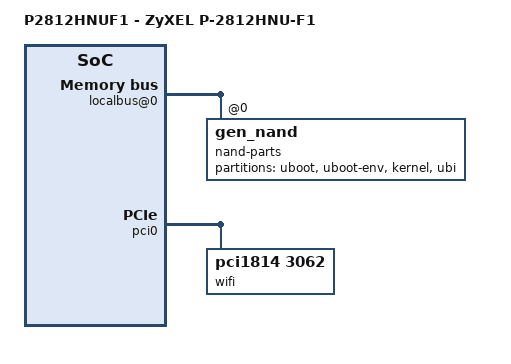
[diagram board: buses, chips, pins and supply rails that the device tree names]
/dts-v1/;

#include "P2812HNUFX.dtsi"

/ {
	model = "P2812HNUF1 - ZyXEL P-2812HNU-F1";

	aliases {
		led-usb = &usb1;
		led-usb2 = &usb2;
	};

	fpi@10000000 {
		localbus@0 {
			nand-parts@0 {
				compatible = "gen_nand", "lantiq,nand-xway";
				lantiq,cs = <1>;
				bank-width = <2>;
				reg = <0 0x0 0x2000000>;
				#address-cells = <1>;
				#size-cells = <1>;

				partitions {
					compatible = "fixed-partitions";
					#address-cells = <1>;
					#size-cells = <1>;

					partition@0 {
						label = "uboot";
						reg = <0x00000 0x40000>;
					};
					partition@40000 {
						label = "uboot-env";
						reg = <0x40000 0x20000>;
					};
					partition@60000 {
						label = "kernel";
						reg = <0x60000 0x200000>;
					};
					partition@260000 {
						label = "ubi";
						reg = <0x260000 0x7da0000>;
					};
				};
			};
		};

		pcie@d900000 {
			status = "disabled";
		};
	};

	gpio-leds {
		usb1: usb1 {
			label = "p2812hnuf1:green:usb1";
			gpios = <&gpio 38 GPIO_ACTIVE_LOW>;
		};
		usb2: usb2 {
			label = "p2812hnuf1:green:usb2";
			gpios = <&gpio 44 GPIO_ACTIVE_LOW>;
		};
	};
};

&pci0 {
	wifi@1814,3062 {
		compatible = "pci1814,3062";
		reg = <0x7000 0 0 0 0>;
		ralink,eeprom = "RT3062.eeprom";
	};
};
